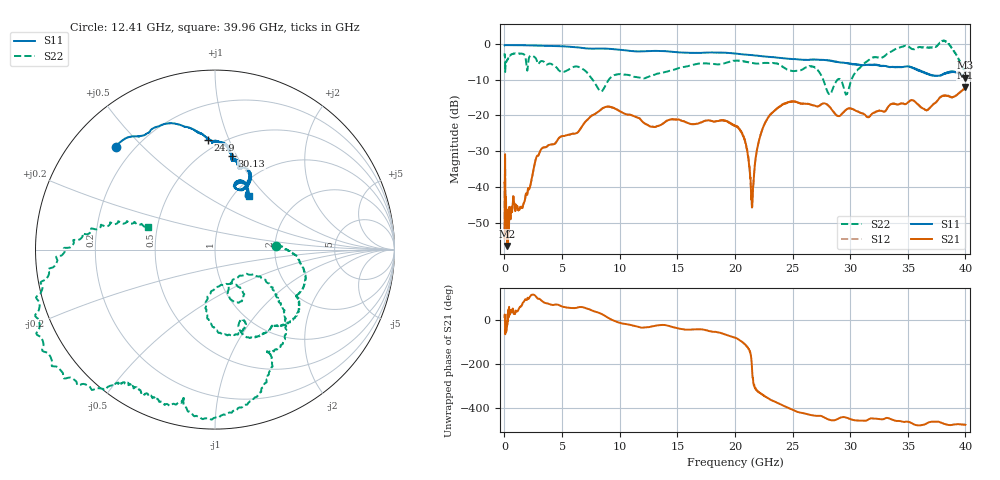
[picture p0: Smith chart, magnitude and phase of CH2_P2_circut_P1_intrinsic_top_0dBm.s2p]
!Keysight Technologies,N5222B,MY61257109,A.17.25.03
!Date: Tuesday, July 21, 2026 12:26:22
!Correction: S11(C  2-Port  )
!S21(C  2-Port  )
!S12(C  2-Port  )
!S22(C  2-Port  )
!S2P File: Measurements: S11, S21, S12, S22:
# Hz S  dB  R 50
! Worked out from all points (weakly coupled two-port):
!   4000 points, 10 MHz to 40 GHz, reference 50 ohm
!   highest |S21| = -12.17 dB at 40 GHz (marker M1); lowest = -56.5 dB at 250 MHz (marker M2)
!   lowest |S11| = -9.5 dB at 40 GHz (marker M3), VSWR 2.01, Z = 57 + j37.4 ohm
!   |S11| at or under -10 dB: nowhere
!   |S22| runs from -14.2 to 1.0 dB; largest |S21 - S12| = 0.0025
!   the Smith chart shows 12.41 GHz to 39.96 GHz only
!   S11 on the Smith chart (normalised r, x): 12.41 GHz: 0.14, +0.42; 24.9 GHz: 0.43, +0.84; 30.13 GHz: 0.66, +0.95; 39.96 GHz: 1.17, +0.80
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1e7  -0.39 -179.6  -54.47 13.9  -54.66 22.9  -2.65 -58.7
2.5e8  -0.33 178.9  -56.52 -4.2  -56.55 -5.0  -4.52 -175.7
1.61e9  -0.37 172.6  -45.11 80.7  -45.10 80.7  -2.79 105.9
3.21e9  -0.55 165.7  -29.35 88.8  -29.34 88.8  -4.80 61.3
6.68e9  -1.10 150.3  -23.32 59.3  -23.31 59.4  -6.82 5.6
8.36e9  -1.28 145.9  -18.39 29.9  -18.38 30.0  -13.33 6.9
1.241e10  -2.03 134.0  -22.63 -31.9  -22.63 -31.9  -9.30 3.2
1.334e10  -1.97 130.5  -22.91 -23.6  -22.96 -23.5  -8.29 1.4
2.001e10  -2.69 107.2  -22.89 -79.2  -22.99 -79.1  -4.72 -38.7
2.086e10  -2.99 104.2  -26.93 -109.8  -27.15 -108.8  -4.98 -47.8
2.148e10  -3.13 102.2  -44.53 143.7  -45.69 140.8  -5.35 -51.6
2.257e10  -3.52 98.8  -22.42 15.1  -22.34 16.4  -5.32 -56.4
2.49e10  -4.23 93.5  -16.18 -44.1  -16.07 -44.1  -7.50 -70.5
2.667e10  -4.35 90.5  -17.10 -71.1  -17.09 -71.5  -6.26 -79.4
2.819e10  -4.62 83.7  -17.48 -91.9  -17.50 -91.9  -13.88 -77.3
3.013e10  -5.54 79.8  -18.14 -90.9  -18.16 -90.9  -9.88 -31.6
3.334e10  -6.39 73.4  -17.39 -85.0  -17.37 -85.0  -2.57 -66.0
3.487e10  -6.29 70.5  -16.76 -100.6  -16.72 -100.6  -0.53 -93.3
3.78e10  -8.87 71.2  -15.00 -103.2  -14.96 -103.4  0.29 -132.6
3.834e10  -8.03 71.8  -14.50 -113.1  -14.48 -113.5  0.52 -156.9
3.996e10  -9.02 58.0  -12.44 -114.2  -12.41 -114.4  -8.08 161.6
4e10  -9.48 60.2  -12.17 -114.8  -12.09 -114.8  -8.25 162.5
